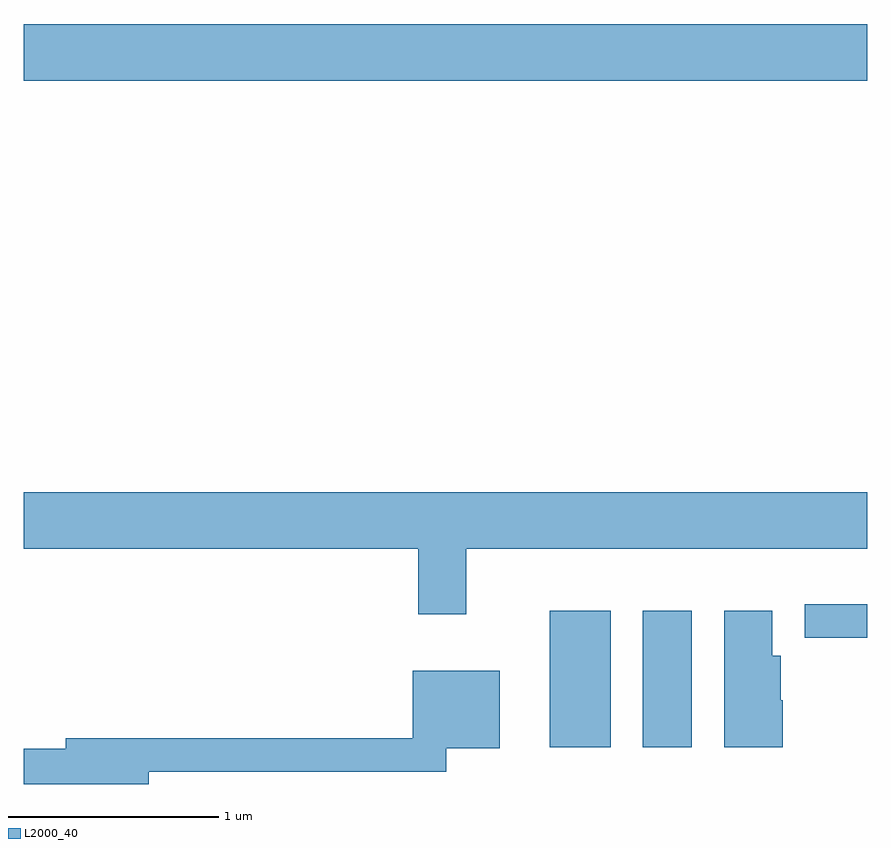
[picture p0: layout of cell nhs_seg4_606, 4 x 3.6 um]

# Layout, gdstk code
import gdstk
lib = gdstk.Library(unit=1e-6, precision=1e-09)
def R(c, l, rs):  # rectangles x0, y0, x1, y1
    for r in rs: c.add(gdstk.rectangle(r[:2], r[2:], *l))
def P(c, l, *ps):  # polygons
    for p in ps: c.add(gdstk.Polygon(p, *l))
L2000_40 = (2000, 40)

nhs_seg4_606 = lib.new_cell('nhs_seg4_606')
R(nhs_seg4_606, L2000_40, [(204.106,1378.156,204.394,1378.804), (204.546,1378.156,204.779,1378.804), (205.313,1378.676,205.611,1378.834), (201.611,1381.316,205.611,1381.584)])
P(nhs_seg4_606, L2000_40, [(203.709,1379.096),(205.611,1379.096),(205.611,1379.364),(201.611,1379.364),(201.611,1379.096),(203.481,1379.096),(203.481,1378.786),(203.709,1378.786)],
  [(205.209,1378.38),(205.199,1378.38),(205.199,1378.589),(205.159,1378.589),(205.159,1378.804),(204.931,1378.804),(204.931,1378.156),(205.209,1378.156)],
  [(202.204,1378.041),(203.614,1378.041),(203.614,1378.151),(203.869,1378.151),(203.869,1378.519),(203.456,1378.519),(203.456,1378.199),(201.811,1378.199),(201.811,1378.149),(201.611,1378.149),(201.611,1377.982),(202.204,1377.982)])

lib.write_gds('nhs_seg4_606.gds')
